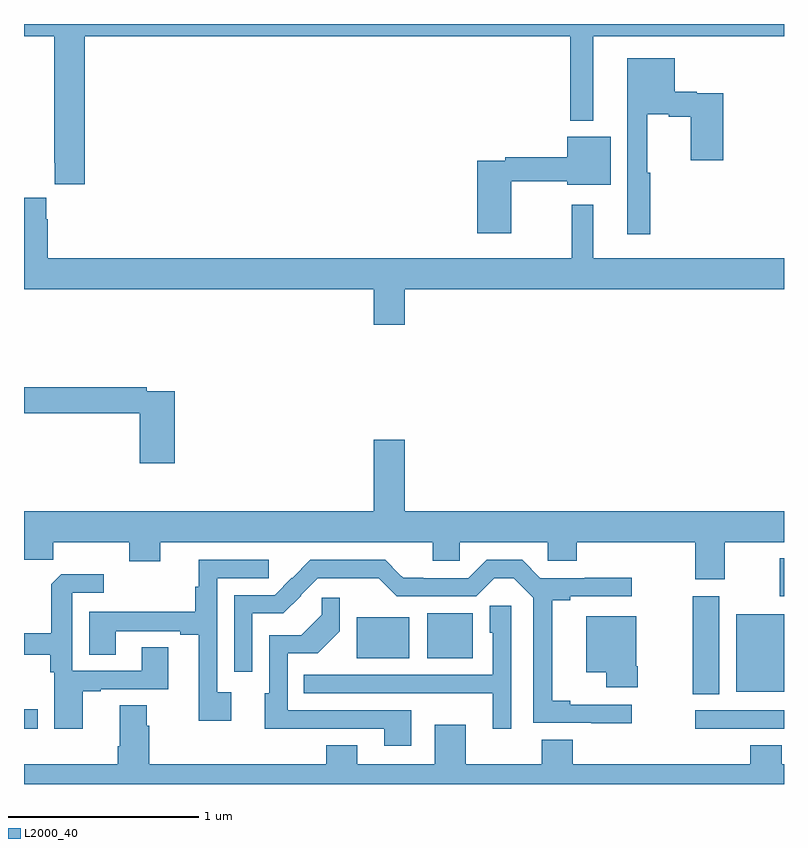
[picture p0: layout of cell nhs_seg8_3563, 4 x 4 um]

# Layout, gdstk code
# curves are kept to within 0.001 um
import gdstk
lib = gdstk.Library(unit=1e-6, precision=1e-09)
def R(c, l, rs):  # rectangles x0, y0, x1, y1
    for r in rs: c.add(gdstk.rectangle(r[:2], r[2:], *l))
def P(c, l, *ps):  # polygons
    for p in ps: c.add(gdstk.Polygon(p, *l))
L2000_40 = (2000, 40)

nhs_seg8_3563 = lib.new_cell('nhs_seg8_3563')
R(nhs_seg8_3563, L2000_40, [(331,1110.191,331.072,1110.293), (334.533,1110.192,335,1110.288), (334.519,1110.373,334.66,1110.889), (334.748,1110.386,335,1110.793), (332.75,1110.563,333.028,1110.778), (333.122,1110.563,333.361,1110.799), (334.978,1110.888,335,1111.087)])
P(nhs_seg8_3563, L2000_40, [(331.319,1113.836),(333.876,1113.836),(333.876,1113.392),(333.997,1113.392),(333.997,1113.836),(335,1113.836),(335,1113.9),(331,1113.9),(331,1113.836),(331.159,1113.836),(331.159,1113.169),(331.163,1113.169),(331.163,1113.057),(331.319,1113.057)],
  [(334.297,1113.117),(334.279,1113.117),(334.279,1113.425),(334.394,1113.425),(334.394,1113.413),(334.508,1113.413),(334.508,1113.183),(334.679,1113.183),(334.679,1113.535),(334.542,1113.535),(334.542,1113.543),(334.426,1113.543),(334.426,1113.721),(334.175,1113.721),(334.175,1112.793),(334.297,1112.793)],
  [(333.564,1113.072),(333.86,1113.072),(333.86,1113.053),(334.087,1113.053),(334.087,1113.307),(333.86,1113.307),(333.86,1113.2),(333.532,1113.2),(333.532,1113.18),(333.386,1113.18),(333.386,1112.799),(333.564,1112.799)],
  [(333.004,1112.504),(335,1112.504),(335,1112.668),(333.997,1112.668),(333.997,1112.95),(333.883,1112.95),(333.883,1112.668),(331.124,1112.668),(331.124,1112.873),(331.117,1112.873),(331.117,1112.986),(331,1112.986),(331,1112.504),(332.84,1112.504),(332.84,1112.316),(333.004,1112.316)],
  [(331.793,1111.968),(331.646,1111.968),(331.646,1111.988),(331,1111.988),(331,1111.852),(331.61,1111.852),(331.61,1111.587),(331.793,1111.587)],
  [(334.689,1111.172),(335,1111.172),(335,1111.336),(333.004,1111.336),(333.004,1111.711),(332.84,1111.711),(332.84,1111.336),(331,1111.336),(331,1111.079),(331.153,1111.079),(331.153,1111.172),(331.553,1111.172),(331.553,1111.073),(331.717,1111.073),(331.717,1111.172),(333.152,1111.172),(333.152,1111.074),(333.294,1111.074),(333.294,1111.172),(333.756,1111.172),(333.756,1111.074),(333.908,1111.074),(333.908,1111.172),(334.534,1111.172),(334.534,1110.978),(334.689,1110.978)],
  [(332.092,1110.382),(332.016,1110.382),(332.016,1110.984),(332.289,1110.984),(332.289,1111.08),(331.919,1111.08),(331.919,1110.938),(331.9,1110.938),(331.9,1110.806),(331.343,1110.806),(331.343,1110.58),(331.483,1110.58),(331.483,1110.705),(331.823,1110.705),(331.823,1110.685),(331.919,1110.685),(331.919,1110.234),(332.092,1110.234)],
  [(334.198,1110.318),(333.874,1110.318),(333.874,1110.338),(333.779,1110.338),(333.779,1110.868),(333.874,1110.868),(333.874,1110.888),(334.198,1110.888),(334.198,1110.986),(333.951,1110.986),(333.951,1110.984),(333.718,1110.984),(333.622,1111.08),(333.435,1111.08),(333.339,1110.984),(333.1,1110.984),(333.1,1110.986),(332.996,1110.986),(332.901,1111.08),(332.507,1111.08),(332.319,1110.894),(332.106,1110.894),(332.106,1110.492),(332.202,1110.492),(332.202,1110.798),(332.365,1110.798),(332.459,1110.892),(332.457,1110.894),(332.547,1110.984),(332.867,1110.983),(332.961,1110.888),(333.381,1110.888),(333.476,1110.983),(333.577,1110.983),(333.681,1110.879),(333.681,1110.222),(334.198,1110.221)],
  [(331.309,1110.387),(331.405,1110.387),(331.405,1110.399),(331.759,1110.399),(331.759,1110.62),(331.619,1110.62),(331.619,1110.495),(331.254,1110.495),(331.254,1110.906),(331.42,1110.906),(331.42,1111.003),(331.195,1111.003),(331.143,1110.951),(331.143,1110.694),(331,1110.694),(331,1110.58),(331.138,1110.58),(331.138,1110.488),(331.158,1110.488),(331.158,1110.192),(331.309,1110.192)],
  [(333.037,1110.288),(332.388,1110.288),(332.388,1110.588),(332.545,1110.588),(332.661,1110.704),(332.661,1110.88),(332.566,1110.88),(332.566,1110.792),(332.458,1110.684),(332.292,1110.684),(332.292,1110.378),(332.267,1110.378),(332.267,1110.191),(332.897,1110.192),(332.897,1110.102),(333.037,1110.102)],
  [(333.564,1110.839),(333.452,1110.839),(333.452,1110.696),(333.468,1110.696),(333.468,1110.474),(332.473,1110.474),(332.473,1110.378),(333.133,1110.378),(333.133,1110.377),(333.467,1110.377),(333.467,1110.192),(333.564,1110.192)],
  [(334.23,1110.52),(334.222,1110.52),(334.222,1110.784),(333.959,1110.784),(333.959,1110.488),(334.064,1110.488),(334.064,1110.408),(334.23,1110.408)],
  [(335,1110.004),(334.988,1110.004),(334.988,1110.103),(334.823,1110.103),(334.823,1110.004),(333.889,1110.004),(333.889,1110.133),(333.725,1110.133),(333.725,1110.004),(333.325,1110.004),(333.325,1110.211),(333.161,1110.211),(333.161,1110.004),(332.755,1110.004),(332.755,1110.103),(332.591,1110.103),(332.591,1110.004),(331.658,1110.004),(331.658,1110.206),(331.645,1110.206),(331.645,1110.314),(331.505,1110.314),(331.505,1110.1),(331.493,1110.1),(331.493,1110.004),(331,1110.004),(331,1109.9),(335,1109.9)])

lib.write_gds('nhs_seg8_3563.gds')
